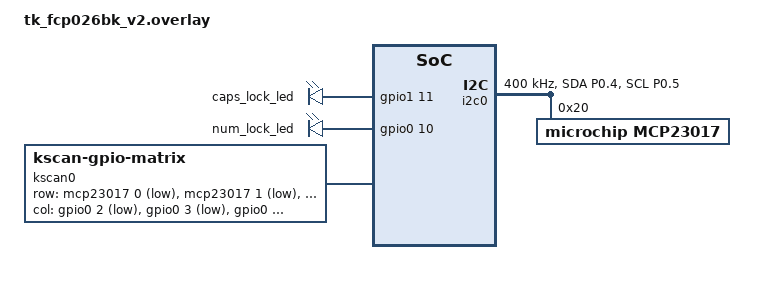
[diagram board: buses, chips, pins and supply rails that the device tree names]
/*
 * TK-FCP026BK Shield Overlay
 * XIAO nRF52840 + MCP23017
 *
 * 配線:
 *   Col 0-7 : XIAO GPIO D0-D3, D7-D10  ※D4=I2C(SDA), D5=I2C(SCL), D6=CapsLock LED
 *             D0=Col0, D1=Col1, D2=Col2, D3=Col3,
 *             D7=Col4, D8=Col5, D9=Col6, D10=Col7
 *   Row 0-15: MCP23017 GPA0-7(Row0-7) + GPB7-0(Row8-15) ← ******V1と逆******
 *
 * LEDピン:
 *   CapsLock LED : D6   = P1.11 (XIAO GPIO)
 *   NumLock  LED : NFC2 = P0.10 (NFCピンをGPIOに転用)
 *   ※LED接続: GPIO → 電流制限抵抗(330Ω程度) → LED → GND
 *   ※GPIO_ACTIVE_LOW = HIGH=消灯 / LOW=点灯（LOW側にGNDを接続）
 *     GPIO_ACTIVE_HIGH = LOW=消灯 / HIGH=点灯（HIGH側にLEDを接続）
 *     → 通常のNPN駆動の場合はGPIO_ACTIVE_HIGH推奨
 *
 * ダイオードなしマトリクス:
 *   diode-direction = "row2col"
 *   Row(MCP23017): OUTPUT (GPIO_ACTIVE_LOW)
 *   Col(XIAO)    : INPUT  (GPIO_ACTIVE_LOW | GPIO_PULL_UP)  ← XIAO内蔵プルアップ使用
 *
 * ColはXIAO直結GPIOのため、キー押下時にnRF52840が直接割り込み検知可能。
 * poll-period-msを省略することで割り込みモードが有効になる。
 * MCP23017のINTA/INTBは不要。
 */
#include "keymaps/tk_fcp026bk_v2.keymap"
#include <dt-bindings/zmk/hid_indicators.h>

&i2c0 {
    status = "okay";
    pinctrl-0 = <&i2c0_default>;
    pinctrl-names = "default";
    clock-frequency = <I2C_BITRATE_FAST>; /* 400kHz: MCP23017ポーリングに必要 */
    mcp23017: mcp23017@20 {
        compatible = "microchip,mcp23017";
        reg = <0x20>;
        gpio-controller;
        #gpio-cells = <2>;
        ngpios = <16>;
        status = "okay";
    };
};

/* P0.28/P0.29 (D2/D3) をNFCピンからGPIOとして使用するための設定 */
/* P0.09/P0.10 (NFC1/NFC2) も同様にGPIOとして使用可能になる         */
&uicr {
    nfct-pins-as-gpios;
};

&pinctrl {
    i2c0_default: i2c0_default {
        group1 {
            psels = <NRF_PSEL(TWIM_SDA, 0, 4)>,
                    <NRF_PSEL(TWIM_SCL, 0, 5)>;
        };
    };
};

/ {
    chosen {
        zmk,kscan = &kscan0;
    };

    /*
     * GPIO LED定義（Zephyrの gpio-leds ドライバ）
     *
     * CapsLock LED: XIAO D6 = P1.11
     * NumLock  LED: XIAO NFC2 = P0.10（nfct-pins-as-gpiosで転用）
     *
     * 接続例（ACTIVE_HIGH = HIGHで点灯）:
     *   GPIO pin → 330Ω → LED(アノード) → LED(カソード) → GND
     */
    leds {
        compatible = "gpio-leds";

        caps_lock_led: caps_lock_led {
            gpios = <&gpio1 11 GPIO_ACTIVE_HIGH>;  /* D6 = P1.11 */
        };

        num_lock_led: num_lock_led {
            gpios = <&gpio0 10 GPIO_ACTIVE_HIGH>;  /* NFC2 = P0.10 */
        };
    };

    /*
     * ZMK HIDインジケーター → LED対応定義
     * ZMK_INDICATOR_LEDS は zmk,indicator-leds ノードの存在で自動有効化される
     * （Kconfig.defconfigへの記述不要）
     */
    indicators {
        compatible = "zmk,indicator-leds";

        caps_lock_indicator: caps_lock {
            indicator = <HID_INDICATOR_CAPS_LOCK>;
            leds = <&caps_lock_led>;
        };

        num_lock_indicator: num_lock {
            indicator = <HID_INDICATOR_NUM_LOCK>;
            leds = <&num_lock_led>;
        };
    };

    kscan0: kscan {
        compatible = "zmk,kscan-gpio-matrix";
        diode-direction = "row2col";
        /* poll-period-ms = <5>; */          /* 省略 → 割り込みモード有効 */
        debounce-press-ms = <2>;
        debounce-release-ms = <1>;

        row-gpios
            = <&mcp23017 0  GPIO_ACTIVE_LOW>  /* Row0  GPA0 */
            , <&mcp23017 1  GPIO_ACTIVE_LOW>  /* Row1  GPA1 */
            , <&mcp23017 2  GPIO_ACTIVE_LOW>  /* Row2  GPA2 */
            , <&mcp23017 3  GPIO_ACTIVE_LOW>  /* Row3  GPA3 */
            , <&mcp23017 4  GPIO_ACTIVE_LOW>  /* Row4  GPA4 */
            , <&mcp23017 5  GPIO_ACTIVE_LOW>  /* Row5  GPA5 */
            , <&mcp23017 6  GPIO_ACTIVE_LOW>  /* Row6  GPA6 */
            , <&mcp23017 7  GPIO_ACTIVE_LOW>  /* Row7  GPA7 */
            , <&mcp23017 15 GPIO_ACTIVE_LOW>  /* Row15 GPB0 */ /*物理配線の都合上、接続を逆に*/
            , <&mcp23017 14 GPIO_ACTIVE_LOW>  /* Row14 GPB1 */
            , <&mcp23017 13 GPIO_ACTIVE_LOW>  /* Row13 GPB2 */
            , <&mcp23017 12 GPIO_ACTIVE_LOW>  /* Row12 GPB3 */
            , <&mcp23017 11 GPIO_ACTIVE_LOW>  /* Row11 GPB4 */
            , <&mcp23017 10 GPIO_ACTIVE_LOW>  /* Row10 GPB5 */
            , <&mcp23017 9  GPIO_ACTIVE_LOW>  /* Row9  GPB6 */
            , <&mcp23017 8  GPIO_ACTIVE_LOW>  /* Row8  GPB7 */
            ;

        col-gpios
            = <&gpio0 2  (GPIO_ACTIVE_LOW | GPIO_PULL_UP)>  /* Col0 D0  P0.02 */
            , <&gpio0 3  (GPIO_ACTIVE_LOW | GPIO_PULL_UP)>  /* Col1 D1  P0.03 */
            , <&gpio0 28 (GPIO_ACTIVE_LOW | GPIO_PULL_UP)>  /* Col2 D2  P0.28 */
            , <&gpio0 29 (GPIO_ACTIVE_LOW | GPIO_PULL_UP)>  /* Col3 D3  P0.29 */
            , <&gpio1 12 (GPIO_ACTIVE_LOW | GPIO_PULL_UP)>  /* Col4 D7  P1.12 */
            , <&gpio1 13 (GPIO_ACTIVE_LOW | GPIO_PULL_UP)>  /* Col5 D8  P1.13 */
            , <&gpio1 14 (GPIO_ACTIVE_LOW | GPIO_PULL_UP)>  /* Col6 D9  P1.14 */
            , <&gpio1 15 (GPIO_ACTIVE_LOW | GPIO_PULL_UP)>  /* Col7 D10 P1.15 */
            ;
    };
};
